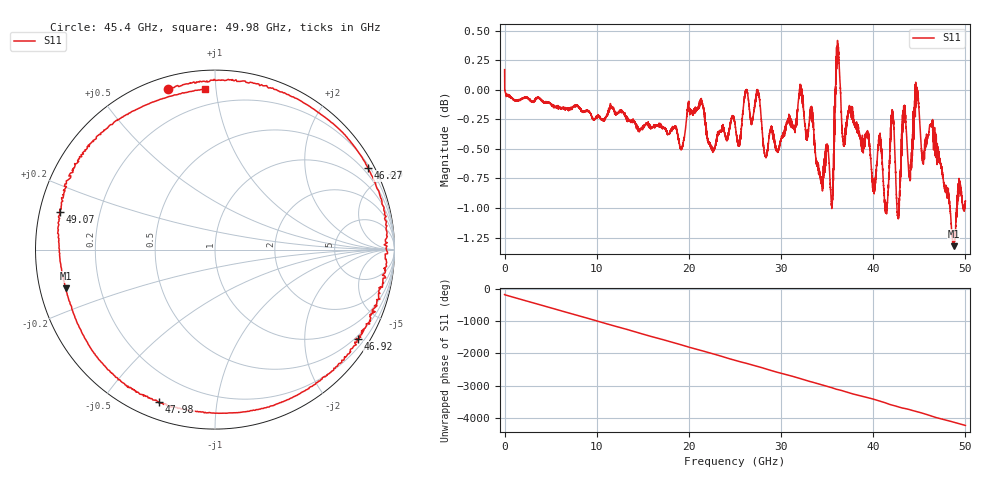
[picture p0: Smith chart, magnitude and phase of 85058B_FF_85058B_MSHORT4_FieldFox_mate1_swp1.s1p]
!Created with skrf (http://scikit-rf.org).
# Hz S RI R 50.0
!freq ReS11 ImS11
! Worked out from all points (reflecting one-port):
!   10001 points, 300 kHz to 50 GHz, reference 50 ohm
!   lowest |S11| = -1.3 dB at 48.71 GHz (marker M1), VSWR 13.16, Z = 3.86 - j6.32 ohm
!   phase of S11 starts at -174 deg and turns -4054 deg over the sweep
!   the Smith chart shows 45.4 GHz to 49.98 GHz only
!   S11 on the Smith chart (normalised r, x): 45.4 GHz: 0.05, +0.75; 46.27 GHz: 0.29, +3.97; 46.92 GHz: 0.40, -3.46; 47.98 GHz: 0.08, -0.70; 49.07 GHz: 0.06, +0.12; 49.98 GHz: 0.10, +0.94
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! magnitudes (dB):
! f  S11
! 300 kHz  0.2
! 6.25 GHz  -0.2
! 12.5 GHz  -0.2
! 18.75 GHz  -0.4
! 25 GHz  -0.3
! 26.22 GHz  0.0
! 31.25 GHz  -0.3
! 32.17 GHz  0.0
! 35.47 GHz  -1.0
! 36.13 GHz  0.4
! 36.79 GHz  -0.5
! 37.5 GHz  -0.2
! 40.04 GHz  -0.8
! 40.73 GHz  -0.4
! 41.38 GHz  -1.0
! 42.06 GHz  -0.2
! 42.67 GHz  -1.1
! 43.31 GHz  -0.2
! 43.75 GHz  -0.6
! 44.72 GHz  -0.1
! 45.4 GHz  -0.6
! 46.27 GHz  -0.3
! 46.92 GHz  -0.5
! 47.98 GHz  -0.9
! 48.71 GHz  -1.3
! 49.07 GHz  -1.0
! 49.98 GHz  -0.9
! 50 GHz  -0.9
